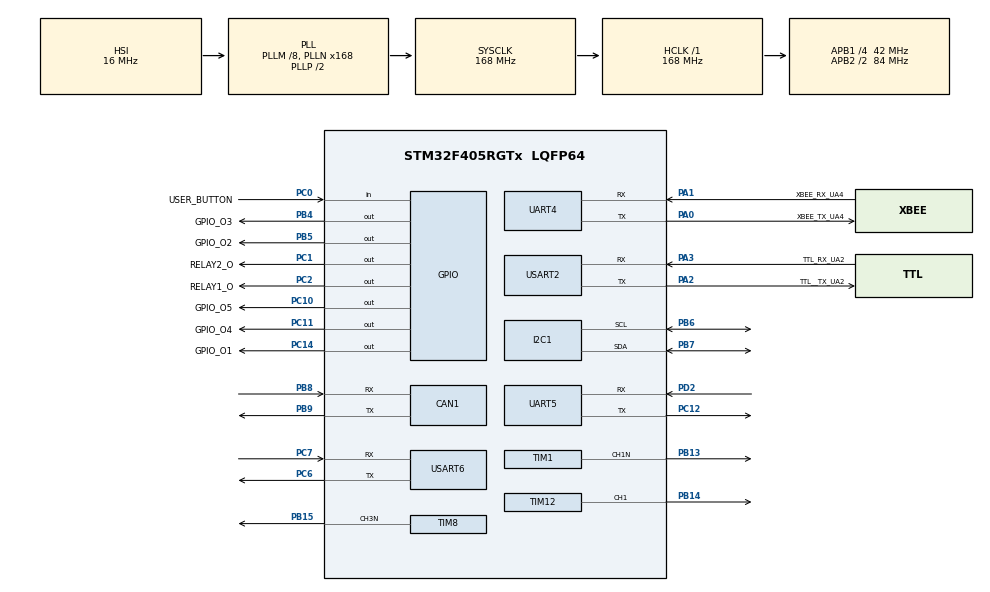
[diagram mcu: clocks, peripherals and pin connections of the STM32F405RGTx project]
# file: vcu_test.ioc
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CAN1.CalculateTimeQuantum=380.95238095238096
Mcu.Family=STM32F4
Mcu.Name=STM32F405RGTx
Mcu.Package=LQFP64
NVIC.PriorityGroup=NVIC_PRIORITYGROUP_4
NVIC.UART4_IRQn=true\:0\:0\:false\:false\:true\:true\:true
NVIC.UART5_IRQn=true\:0\:0\:false\:false\:true\:true\:true
NVIC.USART2_IRQn=true\:0\:0\:false\:false\:true\:true\:true
NVIC.USART6_IRQn=true\:0\:0\:false\:false\:true\:true\:true
PA0-WKUP.GPIO_Label=XBEE_TX_UA4
PA0-WKUP.Mode=Asynchronous
PA0-WKUP.Signal=UART4_TX
PA1.GPIO_Label=XBEE_RX_UA4
PA1.Mode=Asynchronous
PA1.Signal=UART4_RX
PA13.Mode=Serial_Wire
PA13.Signal=SYS_JTMS-SWDIO
PA14.Mode=Serial_Wire
PA14.Signal=SYS_JTCK-SWCLK
PA2.GPIO_Label=TTL__TX_UA2
PA2.Mode=Asynchronous
PA2.Signal=USART2_TX
PA3.GPIO_Label=TTL_RX_UA2
PA3.Mode=Asynchronous
PA3.Signal=USART2_RX
PB13.Mode=PWM Generation1 CH1N
PB13.Signal=TIM1_CH1N
PB14.Signal=S_TIM12_CH1
PB15.Mode=PWM Generation3 CH3N
PB15.Signal=TIM8_CH3N
PB3.Signal=SYS_JTDO-SWO
PB4.GPIO_Label=GPIO_O3
PB4.Signal=GPIO_Output
PB5.GPIO_Label=GPIO_O2
PB5.Signal=GPIO_Output
PB6.Mode=I2C
PB6.Signal=I2C1_SCL
PB7.Mode=I2C
PB7.Signal=I2C1_SDA
PB8.Mode=Master
PB8.Signal=CAN1_RX
PB9.Mode=Master
PB9.Signal=CAN1_TX
PC0.GPIO_Label=USER_BUTTON
PC0.Signal=GPIO_Input
PC1.GPIO_Label=RELAY2_O
PC1.Signal=GPIO_Output
PC10.GPIO_Label=GPIO_O5
PC10.Signal=GPIO_Output
PC11.GPIO_Label=GPIO_O4
PC11.Signal=GPIO_Output
PC12.Mode=Asynchronous
PC12.Signal=UART5_TX
PC14-OSC32_IN.GPIO_Label=GPIO_O1
PC14-OSC32_IN.Signal=GPIO_Output
PC2.GPIO_Label=RELAY1_O
PC2.Signal=GPIO_Output
PC6.Mode=Asynchronous
PC6.Signal=USART6_TX
PC7.Mode=Asynchronous
PC7.Signal=USART6_RX
PD2.Mode=Asynchronous
PD2.Signal=UART5_RX
PH0-OSC_IN.Mode=HSE-External-Oscillator
PH0-OSC_IN.Signal=RCC_OSC_IN
PH1-OSC_OUT.Mode=HSE-External-Oscillator
PH1-OSC_OUT.Signal=RCC_OSC_OUT
ProjectManager.HeapSize=0x200
ProjectManager.StackSize=0x400
ProjectManager.TargetToolchain=STM32CubeIDE
RCC.48MHZClocksFreq_Value=84000000
RCC.AHBFreq_Value=168000000
RCC.APB1CLKDivider=RCC_HCLK_DIV4
RCC.APB1Freq_Value=42000000
RCC.APB1TimFreq_Value=84000000
RCC.APB2CLKDivider=RCC_HCLK_DIV2
RCC.APB2Freq_Value=84000000
RCC.APB2TimFreq_Value=168000000
RCC.CortexFreq_Value=168000000
RCC.HCLKFreq_Value=168000000
RCC.HSE_VALUE=25000000
RCC.HSI_VALUE=16000000
RCC.LSE_VALUE=32768
RCC.PLLM=8
RCC.PLLN=168
RCC.SYSCLKFreq_VALUE=168000000
RCC.SYSCLKSource=RCC_SYSCLKSOURCE_PLLCLK
RCC.VCOOutputFreq_Value=336000000
SH.S_TIM12_CH1.0=TIM12_CH1,PWM Generation1 CH1
TIM1.Channel-PWM\ Generation1\ CH1N=TIM_CHANNEL_1
TIM1.Period=4718
TIM1.Prescaler=355
TIM12.Channel-PWM\ Generation1\ CH1=TIM_CHANNEL_1
TIM8.Channel-PWM\ Generation3\ CH3N=TIM_CHANNEL_3
UART4.VirtualMode=Asynchronous
UART5.VirtualMode=Asynchronous
USART2.VirtualMode=VM_ASYNC
USART6.VirtualMode=VM_ASYNC
board=custom

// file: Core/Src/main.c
/* USER CODE BEGIN Header */
/**
  ******************************************************************************
  * @file           : main.c
  * @brief          : Main program body
  ******************************************************************************
  * @attention
  *
  * <h2><center>&copy; Copyright (c) 2021 STMicroelectronics.
  * All rights reserved.</center></h2>
  *
  * This software component is licensed by ST under BSD 3-Clause license,
  * the "License"; You may not use this file except in compliance with the
  * License. You may obtain a copy of the License at:
  *                        opensource.org/licenses/BSD-3-Clause
  *
  ******************************************************************************
  */
/* USER CODE END Header */
#include "main.h"

/* USER CODE BEGIN Includes */
#include "stm32f4xx.h"
#include "stm32f4xx_hal.h"
#include "stm32f4xx_hal_uart.h"
#include "stdio.h"
#include "stdbool.h"
/* USER CODE END Includes */

CAN_HandleTypeDef hcan1;

I2C_HandleTypeDef hi2c1;

TIM_HandleTypeDef htim1;
TIM_HandleTypeDef htim8;
TIM_HandleTypeDef htim12;

UART_HandleTypeDef huart4;
UART_HandleTypeDef huart5;
UART_HandleTypeDef huart2;
UART_HandleTypeDef huart6;

/* USER CODE BEGIN PV */
uint32_t data5[];
uint32_t data6[];

/* USER CODE END PV */

void SystemClock_Config(void);
static void MX_GPIO_Init(void);
static void MX_TIM1_Init(void);
static void MX_TIM8_Init(void);
static void MX_TIM12_Init(void);
static void MX_CAN1_Init(void);
static void MX_I2C1_Init(void);
static void MX_UART4_Init(void);
static void MX_UART5_Init(void);
static void MX_USART2_UART_Init(void);
static void MX_USART6_UART_Init(void);

/* USER CODE BEGIN 0 */
void servo_angle(int angle)
{
	if(angle<0)
		angle = 0;
	if(angle>180)
		angle = 180;
	angle = angle +45;
	__HAL_TIM_SET_COMPARE(&htim1, TIM_CHANNEL_1, angle);
}

void relay_test(void)
{
HAL_GPIO_WritePin(GPIOC, GPIO_PIN_2, GPIO_PIN_RESET);
HAL_Delay(1000);
HAL_GPIO_WritePin(GPIOC, GPIO_PIN_2, GPIO_PIN_SET);
HAL_Delay(1000);
HAL_GPIO_WritePin(GPIOC, GPIO_PIN_1, GPIO_PIN_RESET);
HAL_Delay(1000);
HAL_GPIO_WritePin(GPIOC, GPIO_PIN_1, GPIO_PIN_SET);
HAL_Delay(1000);
}

/* USER CODE END 0 */

int main(void)
{
  /* USER CODE BEGIN 1 */
char data5[] = "UART5 Test!";
char data6[] = "UART6 Test!";
  /* USER CODE END 1 */

  /* MCU Configuration--------------------------------------------------------*/

  /* Reset of all peripherals, Initializes the Flash interface and the Systick. */
  HAL_Init();

  /* Configure the system clock */
  SystemClock_Config();

  /* Initialize all configured peripherals */
  MX_GPIO_Init();
  MX_TIM1_Init();
  MX_TIM8_Init();
  MX_TIM12_Init();
  MX_CAN1_Init();
  MX_I2C1_Init();
  MX_UART4_Init();
  MX_UART5_Init();
  MX_USART2_UART_Init();
  MX_USART6_UART_Init();
  /* USER CODE BEGIN 2 */
  HAL_TIM_PWM_Start(&htim1, TIM_CHANNEL_1);
  HAL_UART_Transmit(&huart5, data5, sizeof(data5), 100);
  HAL_Delay(100);
  HAL_UART_Transmit(&huart6, data6, sizeof(data6), 100);
  HAL_Delay(100);

  /* USER CODE END 2 */

  /* Infinite loop */
  /* USER CODE BEGIN WHILE */
  while (1)
  {

	  for(int i = 0; i<=180;i++)
	  	  {
	  		  servo_angle(i);
	  		  HAL_Delay(10);
	  	  }
	  	  servo_angle(0);
	  	  HAL_Delay(1000);
	  	  servo_angle(100);
	  	  HAL_Delay(1000);

	  relay_test();

    /* USER CODE END WHILE */

  }
}

void SystemClock_Config(void)
{
  RCC_OscInitTypeDef RCC_OscInitStruct = {0};
  RCC_ClkInitTypeDef RCC_ClkInitStruct = {0};

  /** Configure the main internal regulator output voltage
  */
  __HAL_RCC_PWR_CLK_ENABLE();
  __HAL_PWR_VOLTAGESCALING_CONFIG(PWR_REGULATOR_VOLTAGE_SCALE1);
  /** Initializes the RCC Oscillators according to the specified parameters
  * in the RCC_OscInitTypeDef structure.
  */
  RCC_OscInitStruct.OscillatorType = RCC_OSCILLATORTYPE_HSI;
  RCC_OscInitStruct.HSIState = RCC_HSI_ON;
  RCC_OscInitStruct.HSICalibrationValue = RCC_HSICALIBRATION_DEFAULT;
  RCC_OscInitStruct.PLL.PLLState = RCC_PLL_ON;
  RCC_OscInitStruct.PLL.PLLSource = RCC_PLLSOURCE_HSI;
  RCC_OscInitStruct.PLL.PLLM = 8;
  RCC_OscInitStruct.PLL.PLLN = 168;
  RCC_OscInitStruct.PLL.PLLP = RCC_PLLP_DIV2;
  RCC_OscInitStruct.PLL.PLLQ = 4;
  if (HAL_RCC_OscConfig(&RCC_OscInitStruct) != HAL_OK)
  {
    Error_Handler();
  }
  /** Initializes the CPU, AHB and APB buses clocks
  */
  RCC_ClkInitStruct.ClockType = RCC_CLOCKTYPE_HCLK|RCC_CLOCKTYPE_SYSCLK
                              |RCC_CLOCKTYPE_PCLK1|RCC_CLOCKTYPE_PCLK2;
  RCC_ClkInitStruct.SYSCLKSource = RCC_SYSCLKSOURCE_PLLCLK;
  RCC_ClkInitStruct.AHBCLKDivider = RCC_SYSCLK_DIV1;
  RCC_ClkInitStruct.APB1CLKDivider = RCC_HCLK_DIV4;
  RCC_ClkInitStruct.APB2CLKDivider = RCC_HCLK_DIV2;

  if (HAL_RCC_ClockConfig(&RCC_ClkInitStruct, FLASH_LATENCY_5) != HAL_OK)
  {
    Error_Handler();
  }
}

static void MX_CAN1_Init(void)
{

  hcan1.Instance = CAN1;
  hcan1.Init.Prescaler = 16;
  hcan1.Init.Mode = CAN_MODE_NORMAL;
  hcan1.Init.SyncJumpWidth = CAN_SJW_1TQ;
  hcan1.Init.TimeSeg1 = CAN_BS1_1TQ;
  hcan1.Init.TimeSeg2 = CAN_BS2_1TQ;
  hcan1.Init.TimeTriggeredMode = DISABLE;
  hcan1.Init.AutoBusOff = DISABLE;
  hcan1.Init.AutoWakeUp = DISABLE;
  hcan1.Init.AutoRetransmission = DISABLE;
  hcan1.Init.ReceiveFifoLocked = DISABLE;
  hcan1.Init.TransmitFifoPriority = DISABLE;
  if (HAL_CAN_Init(&hcan1) != HAL_OK)
  {
    Error_Handler();
  }

}

static void MX_I2C1_Init(void)
{

  hi2c1.Instance = I2C1;
  hi2c1.Init.ClockSpeed = 100000;
  hi2c1.Init.DutyCycle = I2C_DUTYCYCLE_2;
  hi2c1.Init.OwnAddress1 = 0;
  hi2c1.Init.AddressingMode = I2C_ADDRESSINGMODE_7BIT;
  hi2c1.Init.DualAddressMode = I2C_DUALADDRESS_DISABLE;
  hi2c1.Init.OwnAddress2 = 0;
  hi2c1.Init.GeneralCallMode = I2C_GENERALCALL_DISABLE;
  hi2c1.Init.NoStretchMode = I2C_NOSTRETCH_DISABLE;
  if (HAL_I2C_Init(&hi2c1) != HAL_OK)
  {
    Error_Handler();
  }

}

static void MX_TIM1_Init(void)
{

  TIM_MasterConfigTypeDef sMasterConfig = {0};
  TIM_OC_InitTypeDef sConfigOC = {0};
  TIM_BreakDeadTimeConfigTypeDef sBreakDeadTimeConfig = {0};

  htim1.Instance = TIM1;
  htim1.Init.Prescaler = 355;
  htim1.Init.CounterMode = TIM_COUNTERMODE_UP;
  htim1.Init.Period = 4718;
  htim1.Init.ClockDivision = TIM_CLOCKDIVISION_DIV1;
  htim1.Init.RepetitionCounter = 0;
  htim1.Init.AutoReloadPreload = TIM_AUTORELOAD_PRELOAD_DISABLE;
  if (HAL_TIM_PWM_Init(&htim1) != HAL_OK)
  {
    Error_Handler();
  }
  sMasterConfig.MasterOutputTrigger = TIM_TRGO_RESET;
  sMasterConfig.MasterSlaveMode = TIM_MASTERSLAVEMODE_DISABLE;
  if (HAL_TIMEx_MasterConfigSynchronization(&htim1, &sMasterConfig) != HAL_OK)
  {
    Error_Handler();
  }
  sConfigOC.OCMode = TIM_OCMODE_PWM1;
  sConfigOC.Pulse = 0;
  sConfigOC.OCPolarity = TIM_OCPOLARITY_HIGH;
  sConfigOC.OCNPolarity = TIM_OCNPOLARITY_HIGH;
  sConfigOC.OCFastMode = TIM_OCFAST_DISABLE;
  sConfigOC.OCIdleState = TIM_OCIDLESTATE_RESET;
  sConfigOC.OCNIdleState = TIM_OCNIDLESTATE_RESET;
  if (HAL_TIM_PWM_ConfigChannel(&htim1, &sConfigOC, TIM_CHANNEL_1) != HAL_OK)
  {
    Error_Handler();
  }
  sBreakDeadTimeConfig.OffStateRunMode = TIM_OSSR_DISABLE;
  sBreakDeadTimeConfig.OffStateIDLEMode = TIM_OSSI_DISABLE;
  sBreakDeadTimeConfig.LockLevel = TIM_LOCKLEVEL_OFF;
  sBreakDeadTimeConfig.DeadTime = 0;
  sBreakDeadTimeConfig.BreakState = TIM_BREAK_DISABLE;
  sBreakDeadTimeConfig.BreakPolarity = TIM_BREAKPOLARITY_HIGH;
  sBreakDeadTimeConfig.AutomaticOutput = TIM_AUTOMATICOUTPUT_DISABLE;
  if (HAL_TIMEx_ConfigBreakDeadTime(&htim1, &sBreakDeadTimeConfig) != HAL_OK)
  {
    Error_Handler();
  }
  HAL_TIM_MspPostInit(&htim1);

}

static void MX_TIM8_Init(void)
{

  TIM_MasterConfigTypeDef sMasterConfig = {0};
  TIM_OC_InitTypeDef sConfigOC = {0};
  TIM_BreakDeadTimeConfigTypeDef sBreakDeadTimeConfig = {0};

  htim8.Instance = TIM8;
  htim8.Init.Prescaler = 0;
  htim8.Init.CounterMode = TIM_COUNTERMODE_UP;
  htim8.Init.Period = 65535;
  htim8.Init.ClockDivision = TIM_CLOCKDIVISION_DIV1;
  htim8.Init.RepetitionCounter = 0;
  htim8.Init.AutoReloadPreload = TIM_AUTORELOAD_PRELOAD_DISABLE;
  if (HAL_TIM_PWM_Init(&htim8) != HAL_OK)
  {
    Error_Handler();
  }
  sMasterConfig.MasterOutputTrigger = TIM_TRGO_RESET;
  sMasterConfig.MasterSlaveMode = TIM_MASTERSLAVEMODE_DISABLE;
  if (HAL_TIMEx_MasterConfigSynchronization(&htim8, &sMasterConfig) != HAL_OK)
  {
    Error_Handler();
  }
  sConfigOC.OCMode = TIM_OCMODE_PWM1;
  sConfigOC.Pulse = 0;
  sConfigOC.OCPolarity = TIM_OCPOLARITY_HIGH;
  sConfigOC.OCNPolarity = TIM_OCNPOLARITY_HIGH;
  sConfigOC.OCFastMode = TIM_OCFAST_DISABLE;
  sConfigOC.OCIdleState = TIM_OCIDLESTATE_RESET;
  sConfigOC.OCNIdleState = TIM_OCNIDLESTATE_RESET;
  if (HAL_TIM_PWM_ConfigChannel(&htim8, &sConfigOC, TIM_CHANNEL_3) != HAL_OK)
  {
    Error_Handler();
  }
  sBreakDeadTimeConfig.OffStateRunMode = TIM_OSSR_DISABLE;
  sBreakDeadTimeConfig.OffStateIDLEMode = TIM_OSSI_DISABLE;
  sBreakDeadTimeConfig.LockLevel = TIM_LOCKLEVEL_OFF;
  sBreakDeadTimeConfig.DeadTime = 0;
  sBreakDeadTimeConfig.BreakState = TIM_BREAK_DISABLE;
  sBreakDeadTimeConfig.BreakPolarity = TIM_BREAKPOLARITY_HIGH;
  sBreakDeadTimeConfig.AutomaticOutput = TIM_AUTOMATICOUTPUT_DISABLE;
  if (HAL_TIMEx_ConfigBreakDeadTime(&htim8, &sBreakDeadTimeConfig) != HAL_OK)
  {
    Error_Handler();
  }
  HAL_TIM_MspPostInit(&htim8);

}

static void MX_TIM12_Init(void)
{

  TIM_OC_InitTypeDef sConfigOC = {0};

  htim12.Instance = TIM12;
  htim12.Init.Prescaler = 0;
  htim12.Init.CounterMode = TIM_COUNTERMODE_UP;
  htim12.Init.Period = 65535;
  htim12.Init.ClockDivision = TIM_CLOCKDIVISION_DIV1;
  htim12.Init.AutoReloadPreload = TIM_AUTORELOAD_PRELOAD_DISABLE;
  if (HAL_TIM_PWM_Init(&htim12) != HAL_OK)
  {
    Error_Handler();
  }
  sConfigOC.OCMode = TIM_OCMODE_PWM1;
  sConfigOC.Pulse = 0;
  sConfigOC.OCPolarity = TIM_OCPOLARITY_HIGH;
  sConfigOC.OCFastMode = TIM_OCFAST_DISABLE;
  if (HAL_TIM_PWM_ConfigChannel(&htim12, &sConfigOC, TIM_CHANNEL_1) != HAL_OK)
  {
    Error_Handler();
  }
  HAL_TIM_MspPostInit(&htim12);

}

static void MX_UART4_Init(void)
{

  huart4.Instance = UART4;
  huart4.Init.BaudRate = 115200;
  huart4.Init.WordLength = UART_WORDLENGTH_8B;
  huart4.Init.StopBits = UART_STOPBITS_1;
  huart4.Init.Parity = UART_PARITY_NONE;
  huart4.Init.Mode = UART_MODE_TX_RX;
  huart4.Init.HwFlowCtl = UART_HWCONTROL_NONE;
  huart4.Init.OverSampling = UART_OVERSAMPLING_16;
  if (HAL_UART_Init(&huart4) != HAL_OK)
  {
    Error_Handler();
  }

}

static void MX_UART5_Init(void)
{

  huart5.Instance = UART5;
  huart5.Init.BaudRate = 115200;
  huart5.Init.WordLength = UART_WORDLENGTH_8B;
  huart5.Init.StopBits = UART_STOPBITS_1;
  huart5.Init.Parity = UART_PARITY_NONE;
  huart5.Init.Mode = UART_MODE_TX_RX;
  huart5.Init.HwFlowCtl = UART_HWCONTROL_NONE;
  huart5.Init.OverSampling = UART_OVERSAMPLING_16;
  if (HAL_UART_Init(&huart5) != HAL_OK)
  {
    Error_Handler();
  }

}

static void MX_USART2_UART_Init(void)
{

  huart2.Instance = USART2;
  huart2.Init.BaudRate = 115200;
  huart2.Init.WordLength = UART_WORDLENGTH_8B;
  huart2.Init.StopBits = UART_STOPBITS_1;
  huart2.Init.Parity = UART_PARITY_NONE;
  huart2.Init.Mode = UART_MODE_TX_RX;
  huart2.Init.HwFlowCtl = UART_HWCONTROL_NONE;
  huart2.Init.OverSampling = UART_OVERSAMPLING_16;
  if (HAL_UART_Init(&huart2) != HAL_OK)
  {
    Error_Handler();
  }

}

static void MX_USART6_UART_Init(void)
{

  huart6.Instance = USART6;
  huart6.Init.BaudRate = 115200;
  huart6.Init.WordLength = UART_WORDLENGTH_8B;
  huart6.Init.StopBits = UART_STOPBITS_1;
  huart6.Init.Parity = UART_PARITY_NONE;
  huart6.Init.Mode = UART_MODE_TX_RX;
  huart6.Init.HwFlowCtl = UART_HWCONTROL_NONE;
  huart6.Init.OverSampling = UART_OVERSAMPLING_16;
  if (HAL_UART_Init(&huart6) != HAL_OK)
  {
    Error_Handler();
  }

}

static void MX_GPIO_Init(void)
{
  GPIO_InitTypeDef GPIO_InitStruct = {0};

  /* GPIO Ports Clock Enable */
  __HAL_RCC_GPIOC_CLK_ENABLE();
  __HAL_RCC_GPIOH_CLK_ENABLE();
  __HAL_RCC_GPIOA_CLK_ENABLE();
  __HAL_RCC_GPIOB_CLK_ENABLE();
  __HAL_RCC_GPIOD_CLK_ENABLE();

  /*Configure GPIO pin Output Level */
  HAL_GPIO_WritePin(GPIOC, GPIO_O1_Pin|RELAY2_O_Pin|RELAY1_O_Pin|GPIO_O5_Pin
                          |GPIO_O4_Pin, GPIO_PIN_RESET);

  /*Configure GPIO pin Output Level */
  HAL_GPIO_WritePin(GPIOB, GPIO_O3_Pin|GPIO_O2_Pin, GPIO_PIN_RESET);

  /*Configure GPIO pins : GPIO_O1_Pin RELAY2_O_Pin RELAY1_O_Pin GPIO_O5_Pin
                           GPIO_O4_Pin */
  GPIO_InitStruct.Pin = GPIO_O1_Pin|RELAY2_O_Pin|RELAY1_O_Pin|GPIO_O5_Pin
                          |GPIO_O4_Pin;
  GPIO_InitStruct.Mode = GPIO_MODE_OUTPUT_PP;
  GPIO_InitStruct.Pull = GPIO_NOPULL;
  GPIO_InitStruct.Speed = GPIO_SPEED_FREQ_LOW;
  HAL_GPIO_Init(GPIOC, &GPIO_InitStruct);

  /*Configure GPIO pin : USER_BUTTON_Pin */
  GPIO_InitStruct.Pin = USER_BUTTON_Pin;
  GPIO_InitStruct.Mode = GPIO_MODE_INPUT;
  GPIO_InitStruct.Pull = GPIO_NOPULL;
  HAL_GPIO_Init(USER_BUTTON_GPIO_Port, &GPIO_InitStruct);

  /*Configure GPIO pins : GPIO_O3_Pin GPIO_O2_Pin */
  GPIO_InitStruct.Pin = GPIO_O3_Pin|GPIO_O2_Pin;
  GPIO_InitStruct.Mode = GPIO_MODE_OUTPUT_PP;
  GPIO_InitStruct.Pull = GPIO_NOPULL;
  GPIO_InitStruct.Speed = GPIO_SPEED_FREQ_LOW;
  HAL_GPIO_Init(GPIOB, &GPIO_InitStruct);

}

void Error_Handler(void)
{
}

/************************ (C) COPYRIGHT STMicroelectronics *****END OF FILE****/
